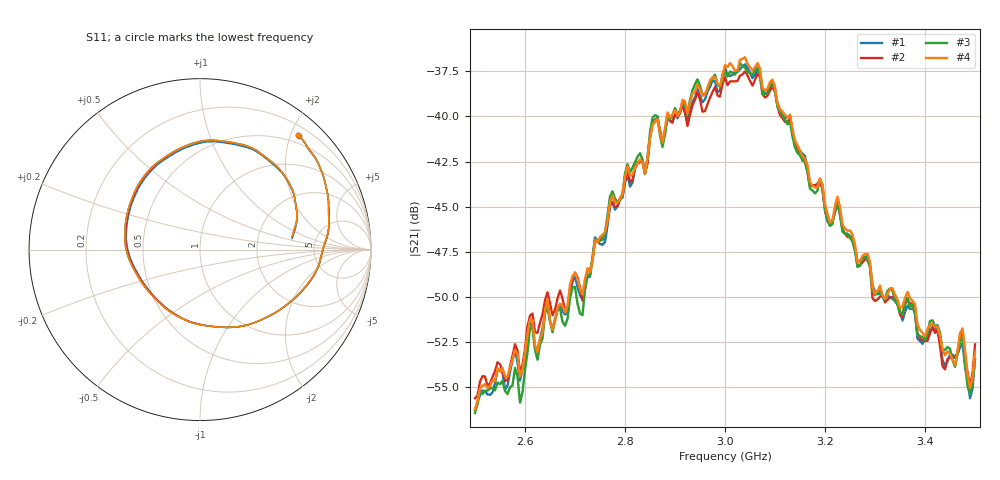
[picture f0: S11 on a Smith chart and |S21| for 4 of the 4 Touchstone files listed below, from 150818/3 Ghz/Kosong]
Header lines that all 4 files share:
# Hz S RI R 50
! CMT, C1220, 16058040, 17.2.0/1
! Data: Format (Calibration Info)
! Freq  S11: Re/Im (F2)  S21: Re/Im (F2)  S12: Re/Im (F2)  S22: Re/Im (F2)
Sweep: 2.5 GHz to 3.5 GHz
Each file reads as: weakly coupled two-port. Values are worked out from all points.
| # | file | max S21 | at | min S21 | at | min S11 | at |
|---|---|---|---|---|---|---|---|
| 1 | Sudut_60_Titik_9.s2p | -37.11 dB | 3.04 GHz | -56.3 dB | 2.5 GHz | -8.4 dB | 2.985 GHz |
| 2 | Sudut_240_Titik_9.s2p | -37.50 dB | 3.04 GHz | -55.6 dB | 2.5 GHz | -8.3 dB | 2.985 GHz |
| 3 | Sudut_290_Titik_9.s2p | -37.03 dB | 3.03 GHz | -56.4 dB | 2.5 GHz | -8.2 dB | 2.985 GHz |
| 4 | Sudut_310_Titik_9.s2p | -36.72 dB | 3.04 GHz | -56.2 dB | 2.5 GHz | -8.2 dB | 2.985 GHz |
